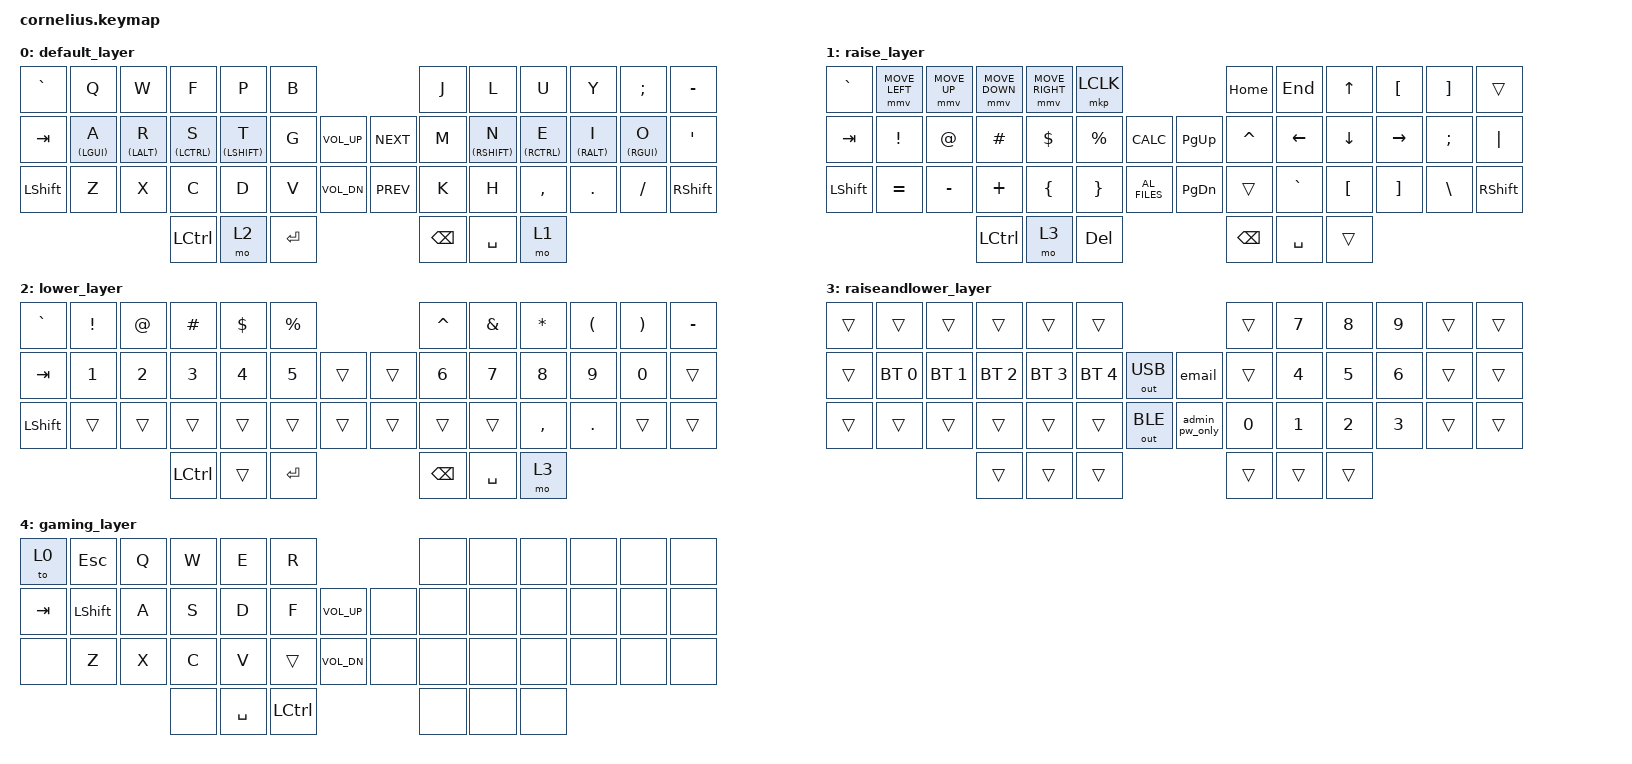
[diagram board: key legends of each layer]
#include <dt-bindings/zmk/pointing.h>
#include <behaviors.dtsi>
#include <dt-bindings/zmk/keys.h>
#include <dt-bindings/zmk/bt.h>
#include <dt-bindings/zmk/outputs.h>

//                        KEY POSITIONS
//  0   1   2   3   4   5               6   7   8   9   10  11
//  12  13  14  15  16  17  18      19  20  21  22  23  24  25
//  26  27  28  29  30  31  32      33  34  35  36  37  38  39
//              40  41  42              43  44  45


/ {

behaviors {
    hml: home_row_mod_left {
        compatible = "zmk,behavior-hold-tap";
        #binding-cells = <2>;
        flavor = "balanced";
        require-prior-idle-ms = <150>;
        tapping-term-ms = <280>;
        quick-tap-ms = <175>;
        bindings = <&kp>, <&kp>;
        hold-trigger-on-release;
        // Right-hand keys that can trigger a hold on left-hand mods
        hold-trigger-key-positions = <
            6 7 8 9 10 11 19 20 21 22 23 24 25 33 34 35 36 37 38 39 43 44 45
        >;
    };

    hmr: home_row_mod_right {
        compatible = "zmk,behavior-hold-tap";
        #binding-cells = <2>;
        flavor = "balanced";
        require-prior-idle-ms = <150>;
        tapping-term-ms = <280>;
        quick-tap-ms = <175>;
        bindings = <&kp>, <&kp>;
        hold-trigger-on-release;
        // Left-hand keys that can trigger a hold on right-hand mods
        hold-trigger-key-positions = <
            0 1 2 3 4 5 12 13 14 15 16 17 18 26 27 28 29 30 31 32 40 41 42
        >;
    };
};
combos {
        compatible = "zmk,combos";
        combo_LEFT_BT_CLR {
            timeout-ms = <50>;
            key-positions = <1 5 27 31>;  // Corners
            bindings = <&bt BT_CLR>;
            layers = <0>;
//            slow-release;
        };
        combo_RIGHT_BT_CLR {
            timeout-ms = <50>;
            key-positions = <6 10 34 38>;  // Corners
            bindings = <&bt BT_CLR>;
            layers = <0>;
//            slow-release;
        };
        combo_mute {
            timeout-ms = <50>;
            key-positions = <18 32>;  // Two left aux keys
            bindings = <&kp C_MUTE>;
            layers = <0>;
//            slow-release;
        };
        combo_pause {
            timeout-ms = <50>;
            key-positions = <19 33>;  // Two right aux keys
            bindings = <&kp C_PP>;
            layers = <0>;
//            slow-release;
        };
        combo_ESCAPE {
            timeout-ms = <50>;
            key-positions = <1 2>;  // Q and W
            bindings = <&kp ESC>;
            layers = <0>;
        };
        combo_Gaming_Layer {
            timeout-ms = <50>;
            key-positions = <27 28 29 30>;  // Z, X, C, V
            bindings = <&to 4>;
            layers = <0>;
        };
    };
macros {
    email: email {
        compatible = "zmk,behavior-macro";
        #binding-cells = <0>;
        bindings 
        =  <&kp D &kp M &kp A &kp N &kp N &kp AT &kp C &kp H &kp A &kp L &kp L &kp E &kp N &kp G &kp E &kp R &kp S &kp C &kp H &kp O &kp O &kp L &kp DOT &kp C &kp O &kp M> 
        ;
    };
    admin_pw_only: admin_pw_only {
        compatible = "zmk,behavior-macro";
        #binding-cells = <0>;
        bindings 
        =  <&kp DOLLAR &kp K &kp Y &kp AT &kp D &kp M &kp EXCL &kp N &macro_press &kp LSHIFT &macro_tap &kp Z &macro_release &kp LSHIFT &macro_tap &kp N0 &kp N &kp E &kp QMARK>
        ;
};
};


        keymap {
                compatible = "zmk,keymap";



                default_layer {
// ---------------------------------------------------------------------------------
// | `   |  Q  |  W  |  F  |  P  |  B  |                          |  J  |  L  |  U  |  Y  |  ;  | ENTER |
// |TAB  |  A  |  R  |  S  |  T  |  G  |V UP|               |Next |  M  |  N  |  E  |  I  |  O  |  '   |
// |SHFT |  Z  |  X  |  C  |  D  |  V  |V DN|               |PREV |  K  |  H  |  ,  |  .  |  /  | SHFT |
//                         | GUI | Lower | ENTER |                |BSPC | SPC |Raise|
                        bindings = <
    &kp GRAVE   &kp Q           &kp W           &kp F           &kp P           &kp B                                   &kp J       &kp L           &kp U           &kp Y           &kp SEMI        &kp MINUS
    &kp TAB     &hml (LGUI) A   &hml (LALT) R   &hml (LCTRL) S  &hml (LSHIFT) T &kp G   &kp C_VOL_UP        &kp C_NEXT  &kp M       &hmr (RSHIFT) N &hmr (RCTRL) E  &hmr (RALT) I   &hmr (RGUI) O   &kp APOSTROPHE
    &kp LSHFT   &kp Z           &kp X           &kp C           &kp D           &kp V   &kp C_VOL_DN        &kp C_PREV  &kp K       &kp H           &kp COMMA       &kp DOT         &kp SLASH       &kp RSHIFT
                                                &kp LCTRL       &mo 2           &kp ENTER                               &kp BSPC    &kp SPACE       &mo 1
                        >;
                };
                raise_layer {
// ---------------------------------------------------------------------------------
// | `   |Mouse Left|Mouse Down |Mouse Up   |Mouse Right|Mouse Click|                         |HOME   |END        |Up Arrow   |left bracket   |Right Bracket  |trans|
// |TAB  | !        | @         | #         | $         | %         |CALC|               |VolU|  ^    |Left Arrow |Down Arrow |Right Arrow    |  ;            |pipe |
// |SHFT | =        | -         | +         | {         | }         |files|              |VolD|       |  `        |  [        |  ]            |  \            |shift|
//                              | GUI       | Raise and lower| Delete    |                           |BSPC   | SPC       |none|

                        bindings = <
    &kp GRAVE   &mmv MOVE_LEFT  &mmv MOVE_UP    &mmv MOVE_DOWN  &mmv MOVE_RIGHT &mkp LCLK                                           &kp HOME    &kp END     &kp UP              &kp LEFT_BRACKET    &kp RIGHT_BRACKET   &trans
    &kp TAB     &kp EXCL        &kp AT          &kp HASH        &kp DOLLAR      &kp PERCENT     &kp K_CALC          &kp PAGE_UP     &kp CARET   &kp LEFT    &kp DOWN            &kp RIGHT           &kp SEMI            &kp PIPE
    &kp LSHFT   &kp EQUAL       &kp MINUS       &kp PLUS        &kp LEFT_BRACE  &kp RIGHT_BRACE &kp C_AL_FILES      &kp PAGE_DOWN   &trans      &kp GRAVE   &kp LEFT_BRACKET    &kp RIGHT_BRACKET   &kp BACKSLASH       &kp RSHIFT 
                                &kp LCTRL       &mo 3           &kp DEL                                                             &kp BSPC    &kp SPACE   &trans
                        >;
                };
                lower_layer {
// ---------------------------------------------------------------------------------
// | `   |  ! |  @ |  # | $  |  % |                       |  ^  |  &        |  *    | (   | )  | - |
// |TAB  | N1 | N2 | N3 | N4 | N5 |   |             |    | N6  | N7        | N8    | N9  | N0 |   |
// |SHFT |    |    |    |    |    |   |             |    |     |Page Down  |Page Up|     |    |   |
//                 | GUI | ALT | ENTER |                  |BSPC | SPC       |Raise and lower  |
                  bindings = <
    &kp GRAVE   &kp EXCL        &kp AT          &kp HASH        &kp DOLLAR      &kp PERCENT                                 &kp CARET   &kp AMPERSAND   &kp ASTERISK    &kp LEFT_PARENTHESIS &kp RIGHT_PARENTHESIS  &kp MINUS
    &kp TAB     &kp N1          &kp N2          &kp N3          &kp N4          &kp N5          &trans          &trans      &kp N6      &kp N7          &kp N8          &kp N9               &kp N0                 &trans
    &kp LSHFT   &trans          &trans          &trans          &trans          &trans          &trans          &trans      &trans      &trans          &kp COMMA       &kp DOT             &trans                  &trans
                                                &kp LCTRL       &trans          &kp ENTER                                   &kp BSPC    &kp SPACE       &mo 3
                        >;
                };      
                raiseandlower_layer {
// ---------------------------------------------------------------------------------
// |trans|trans|trans|trans|trans|trans|                         |trans|  7  |  8  |  9  |trans|trans|
// |trans|SEL 0|SEL 1|SEL 2|SEL 3|SEL 4| USB |             |trans|trans|  4  |  5  |  6  |trans|trans|
// |trans|trans|trans|trans|trans|trans|  BT |             |trans|  0  |  1  |  2  |  3  |trans|trans|
//                   |trans|trans|trans|                         |trans|trans|trans|
                        bindings = < 
&trans  &trans          &trans          &trans          &trans          &trans                                              &trans  &kp N7  &kp N8  &kp N9  &trans  &trans 
&trans  &bt BT_SEL 0    &bt BT_SEL 1    &bt BT_SEL 2    &bt BT_SEL 3    &bt BT_SEL 4    &out OUT_USB        &email       &trans  &kp N4  &kp N5  &kp N6  &trans  &trans 
&trans  &trans          &trans          &trans          &trans          &trans          &out OUT_BLE        &admin_pw_only  &kp N0  &kp N1  &kp N2  &kp N3  &trans  &trans 
                                        &trans          &trans          &trans                                              &trans  &trans  &trans 
                        >;
                };
                gaming_layer {
// ---------------------------------------------------------------------------------
// |trans|trans|trans|trans|trans|trans|                         |trans|trans|trans|trans|trans|trans|
// |trans|trans|trans|trans|trans|trans|trans|             |trans|trans|trans|trans|trans|trans|trans|
// |trans|trans|trans|trans|trans|trans|trans|             |trans|trans|trans|trans|trans|trans|trans|
//                   |trans|trans|trans|                         |trans|trans|trans|
                        bindings = <
&to 0   &kp ESC  &kp Q  &kp W  &kp E  &kp R                                &none  &none  &none  &none  &none  &none 
&kp TAB &kp LSHFT  &kp A  &kp S  &kp D  &kp F  &kp C_VOL_UP         &none  &none  &none  &none  &none  &none  &none
&none  &kp Z  &kp X  &kp C  &kp V  &trans     &kp C_VOL_DN          &none  &none  &none  &none  &none  &none  &none 
                        &none  &kp SPACE  &kp LCTRL                       &none  &none  &none 
                        >;
                };



};
};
